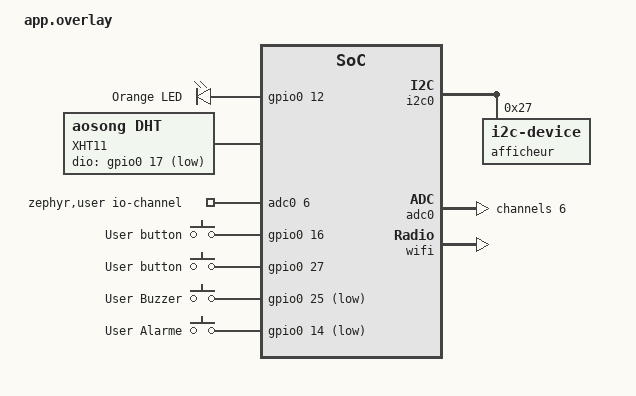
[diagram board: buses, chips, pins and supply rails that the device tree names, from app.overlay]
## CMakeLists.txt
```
cmake_minimum_required(VERSION 3.20.0)

find_package(Zephyr REQUIRED HINTS
$ENV{ZEPHYR_BASE})
project(TomEnzo)

target_sources(app PRIVATE
    src/main.c
    src/lcd_screen_i2c.c
)
```

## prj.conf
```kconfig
# Sensor
CONFIG_I2C=y
CONFIG_SENSOR=y
CONFIG_ADC=y
CONFIG_GPIO=y

CONFIG_CBPRINTF_FP_SUPPORT=y
```

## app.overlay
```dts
/ {
    leds {
        compatible = "gpio-leds";
        ledorange: led_orange {
            gpios = <&gpio0 12 GPIO_ACTIVE_HIGH>;
            label = "Orange LED";
        };
    };

    aliases {
        led-orange = &ledorange;
        afficheur-print = &afficheur;
        sw16 = &button16;
        sw27 = &button27;
        buzz = &buzzer;
        alar = &alarme;
    };

    dht11: dht11 {
        compatible = "aosong,dht";
        status = "okay";
        dio-gpios = <&gpio0 17 GPIO_ACTIVE_LOW>;
        label = "XHT11";
    };

    zephyr,user {
        io-channels = <&adc0 6>;
    };

    buttons {
        compatible = "gpio-keys";
        button16: button_16 {
            gpios = <&gpio0 16 GPIO_ACTIVE_HIGH>;
            label = "User button";
        };

        button27: button_27 {
            gpios = <&gpio0 27 GPIO_ACTIVE_HIGH>;
            label = "User button";
        };

    };

    buzzer {
        compatible = "gpio-keys";
        buzzer: buzzer_25 {
            gpios = <&gpio0 25 GPIO_ACTIVE_LOW>;
            label = "User Buzzer";
        };

    };

    alarme {
        compatible = "gpio-keys";
        alarme: alarme_14 {
            gpios = <&gpio0 14 GPIO_ACTIVE_LOW>;
            label = "User Alarme";
        };
    };
};

&i2c0 {
    afficheur: afficheur_lcd@27 {
        compatible = "i2c-device";
        reg = <0x27>;
    };

};

&adc0 {
    status = "okay";
    #address-cells = <1>;
    #size-cells = <0>;

    channel@6 {
        reg = <6>;
        zephyr,gain = "ADC_GAIN_1_4";
        zephyr,reference = "ADC_REF_INTERNAL";
        zephyr,acquisition-time = <ADC_ACQ_TIME_DEFAULT>;
        zephyr,resolution = <12>;
    };
};

&wifi {
    status = "okay";
};
```

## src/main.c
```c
#include <zephyr/kernel.h>
#include <zephyr/drivers/gpio.h>
#include <stdio.h>
#include <zephyr/drivers/i2c.h>
#include <zephyr/drivers/sensor.h>
#include <zephyr/drivers/adc.h>

#include <zephyr/net/net_if.h>
#include <zephyr/net/wifi_mgmt.h>
#include <zephyr/net/net_event.h>
#include <zephyr/net/http/client.h>
#include <errno.h>
#include <zephyr/net/socket.h>

#include "../inc/lcd_screen_i2c.h"

#define LED_ORANGE_NODE DT_ALIAS(led_orange)
#define AFFICHEUR_NODE DT_ALIAS(afficheur_print)
#define MODE_ALARME "Mode Alarme  "
#define MODE_INTRU "Intru detecte"
#define DT_SPEC_AND_COMMA(node_id, prop, idx) \
	ADC_DT_SPEC_GET_BY_IDX(node_id, idx),

#define BUZZER_PIN DT_ALIAS(buzz)
#define BUZZER_TOGGLE_PERIOD K_MSEC(1)
#define ALARM_NODE DT_ALIAS(alar)

#define SSID "iPhone de Tom"
#define PSK "homedetom"

#define HTTP_PORT "5000"
#define HTTP_HOST "172.20.10.2"

const struct gpio_dt_spec led_orange_gpio = GPIO_DT_SPEC_GET_OR(LED_ORANGE_NODE, gpios, {0});
const struct i2c_dt_spec afficheur = I2C_DT_SPEC_GET(AFFICHEUR_NODE);
const struct device *const dht11 = DEVICE_DT_GET_ONE(aosong_dht);
const struct gpio_dt_spec buzzer_gpio = GPIO_DT_SPEC_GET_OR(BUZZER_PIN, gpios, {0});
const struct gpio_dt_spec presence_sensor_gpio = GPIO_DT_SPEC_GET_OR(ALARM_NODE, gpios, {0});

// Lecture température et humidité
struct sensor_value temp_value;
struct sensor_value humidity_value;

static const struct adc_dt_spec adc_channels[] = {DT_FOREACH_PROP_ELEM(DT_PATH(zephyr_user), io_channels, DT_SPEC_AND_COMMA)};

static struct gpio_callback button_callback_data;
static struct gpio_callback button_callback_data2;

static bool button_pressed_flag = false;
static bool affichage_off = false;

static K_SEM_DEFINE(wifi_connected, 0, 1);
static K_SEM_DEFINE(ipv4_address_obtained, 0, 1);

static struct net_mgmt_event_callback wifi_cb;
static struct net_mgmt_event_callback ipv4_cb;

void button_pressed()
{
	printk("Bouton 16 pressé !\n");
	button_pressed_flag = true;
}

void button_pressed2()
{
	printk("Bouton 27 pressé !\n");
	affichage_off = true;
}

static void handle_wifi_connect_result(struct net_mgmt_event_callback *cb)
{
	const struct wifi_status *status = (const struct wifi_status *)cb->info;
	if (status->status)
	{
		printk("Connection request failed (%d)\n", status->status);
	}
	else
	{
		printk("Connected\n");
		k_sem_give(&wifi_connected);
	}
}

static void handle_wifi_disconnect_result(struct net_mgmt_event_callback *cb)
{
	const struct wifi_status *status = (const struct wifi_status *)cb->info;
	if (status->status)
	{
		printk("Disconnection request (%d)\n", status->status);
	}
	else
	{
		printk("Disconnected\n");
		k_sem_take(&wifi_connected, K_NO_WAIT);
	}
}

static void handle_ipv4_result(struct net_if *iface)
{
	int i = 0;
	for (i = 0; i < NET_IF_MAX_IPV4_ADDR; i++)
	{
		char buf[NET_IPV4_ADDR_LEN];
		if (iface->config.ip.ipv4->unicast[i].addr_type != NET_ADDR_DHCP)
		{
			continue;
		}
		printk("IPv4 address: %s\n",
			   net_addr_ntop(AF_INET,
							 &iface->config.ip.ipv4->unicast[i].address.in_addr,
							 buf, sizeof(buf)));
		printk("Subnet: %s\n", net_addr_ntop(AF_INET,
											 &iface->config.ip.ipv4->netmask,
											 buf, sizeof(buf)));
		printk("Router: %s\n",
			   net_addr_ntop(AF_INET,
							 &iface->config.ip.ipv4->gw,
							 buf, sizeof(buf)));
	}
	k_sem_give(&ipv4_address_obtained);
}

static void wifi_mgmt_event_handler(struct net_mgmt_event_callback *cb, uint32_t mgmt_event, struct net_if *iface)
{
	switch (mgmt_event)
	{
	case NET_EVENT_WIFI_CONNECT_RESULT:
		handle_wifi_connect_result(cb);
		break;
	case NET_EVENT_WIFI_DISCONNECT_RESULT:
		handle_wifi_disconnect_result(cb);
		break;
	case NET_EVENT_IPV4_ADDR_ADD:
		handle_ipv4_result(iface);
		break;
	default:
		break;
	}
}

void wifi_connect(void)
{
	struct net_if *iface = net_if_get_default();
	struct wifi_connect_req_params wifi_params = {0};
	wifi_params.ssid = SSID;
	wifi_params.psk = PSK;
	wifi_params.ssid_length = strlen(SSID);
	wifi_params.psk_length = strlen(PSK);
	wifi_params.channel = WIFI_CHANNEL_ANY;
	wifi_params.security = WIFI_SECURITY_TYPE_PSK;
	wifi_params.band = WIFI_FREQ_BAND_2_4_GHZ;
	wifi_params.mfp = WIFI_MFP_OPTIONAL;
	printk("Connecting to SSID: %s\n", wifi_params.ssid);
	if (net_mgmt(NET_REQUEST_WIFI_CONNECT, iface, &wifi_params, sizeof(struct wifi_connect_req_params)))
	{
		printk("WiFi Connection Request Failed\n");
	}
}

void wifi_status(void)
{
	struct net_if *iface = net_if_get_default();
	struct wifi_iface_status status = {0};
	if (net_mgmt(NET_REQUEST_WIFI_IFACE_STATUS, iface, &status, sizeof(struct wifi_iface_status)))
	{
		printk("WiFi Status Request Failed\n");
	}
	printk("\n");
	if (status.state >= WIFI_STATE_ASSOCIATED)
	{
		printk("SSID: %-32s\n", status.ssid);
		printk("Channel: %d\n", status.channel);
		printk("RSSI: %d\n", status.rssi);
	}
}

static void response_cb(struct http_response *rsp,
                        enum http_final_call final_data,
                        void *user_data)
{
    if (final_data == HTTP_DATA_MORE) {
        printk("Partial data received (%zd bytes)", rsp->data_len);
    } else if (final_data == HTTP_DATA_FINAL) {
        printk("All the data received (%zd bytes)", rsp->data_len);
    }

    printk("Response status %s", rsp->http_status);

        if (rsp->body_found) {
            printk("Response body:\n");
			printk("%s\n", rsp->body_frag_start);
        }
}

int main(void)
{
	gpio_pin_configure_dt(&led_orange_gpio, GPIO_OUTPUT_HIGH);
	k_sleep(K_SECONDS(1));
	gpio_pin_configure_dt(&led_orange_gpio, GPIO_OUTPUT_LOW);
	k_sleep(K_SECONDS(1));
	gpio_pin_configure_dt(&led_orange_gpio, GPIO_OUTPUT_HIGH);
	k_sleep(K_SECONDS(1));
	gpio_pin_configure_dt(&led_orange_gpio, GPIO_OUTPUT_LOW);
	k_sleep(K_SECONDS(1));
	gpio_pin_configure_dt(&led_orange_gpio, GPIO_OUTPUT_HIGH);

	// write_lcd(&afficheur, HELLO_MSG, LCD_LINE_1);

	int err;
	uint16_t buf;
	struct adc_sequence sequence = {
		.buffer = &buf,
		/* buffer size in bytes, not number of samples */
		.buffer_size = sizeof(buf),
	};

	err = adc_channel_setup_dt(&adc_channels[0]);

	// Configurer la broche GPIO du bouton pour les interruptions
	const struct gpio_dt_spec button_gpio = GPIO_DT_SPEC_GET_OR(DT_ALIAS(sw16), gpios, {0});

	gpio_pin_configure(button_gpio.port, button_gpio.pin, GPIO_INPUT | button_gpio.dt_flags);
	gpio_init_callback(&button_callback_data, button_pressed, BIT(button_gpio.pin));
	gpio_add_callback(button_gpio.port, &button_callback_data);
	gpio_pin_interrupt_configure(button_gpio.port, button_gpio.pin, GPIO_INT_EDGE_TO_ACTIVE);

	const struct gpio_dt_spec button_gpio2 = GPIO_DT_SPEC_GET_OR(DT_ALIAS(sw27), gpios, {0});

	gpio_pin_configure(button_gpio2.port, button_gpio2.pin, GPIO_INPUT | button_gpio2.dt_flags);
	gpio_init_callback(&button_callback_data2, button_pressed2, BIT(button_gpio2.pin));
	gpio_add_callback(button_gpio2.port, &button_callback_data2);
	gpio_pin_interrupt_configure(button_gpio2.port, button_gpio2.pin, GPIO_INT_EDGE_TO_ACTIVE);

	net_mgmt_init_event_callback(
		&wifi_cb,
		wifi_mgmt_event_handler,
		NET_EVENT_WIFI_CONNECT_RESULT | NET_EVENT_WIFI_DISCONNECT_RESULT);

	net_mgmt_init_event_callback(
		&ipv4_cb,
		wifi_mgmt_event_handler,
		NET_EVENT_IPV4_ADDR_ADD);

	net_mgmt_add_event_callback(&wifi_cb);
	net_mgmt_add_event_callback(&ipv4_cb);

	wifi_connect();

	k_sem_take(&wifi_connected, K_FOREVER);
	wifi_status();
	k_sem_take(&ipv4_address_obtained, K_FOREVER);

	static struct addrinfo hints;
	struct addrinfo *res;
	int st, sock, ret;
	hints.ai_family = AF_INET;
	hints.ai_socktype = SOCK_STREAM;
	st = getaddrinfo(HTTP_HOST, HTTP_PORT, &hints, &res);
	printf("getaddrinfo status: %d\n", st);

	if (st != 0)
	{
		printf("Unable to resolve address, quitting\n");
		return 0;
	}

	struct http_request req = { 0 };
	static uint8_t recv_buf[512];

	sock = socket(res->ai_family, res->ai_socktype, res->ai_protocol);
	zsock_connect(sock, res->ai_addr, res->ai_addrlen);
	req.method = HTTP_POST;
	req.url = "/";
	req.host = HTTP_HOST;
	req.protocol = "HTTP/1.1";
	req.response = response_cb;
	req.recv_buf = recv_buf;
	req.recv_buf_len = sizeof(recv_buf);
	ret = http_client_req(sock, &req, 5000, NULL);
	zsock_close(sock);

	while (1)
	{
		int ret = sensor_sample_fetch(dht11);
		ret = sensor_channel_get(dht11, SENSOR_CHAN_AMBIENT_TEMP, &temp_value);
		ret = sensor_channel_get(dht11, SENSOR_CHAN_HUMIDITY, &humidity_value);

		double temperature = sensor_value_to_double(&temp_value);
		double humidity = sensor_value_to_double(&humidity_value);

		printf("Température : %f °C\n", temperature);
		printf("Humidité : %f %%\n", humidity);

		(void)adc_sequence_init_dt(&adc_channels[0], &sequence);

		// Lecture analogique humidité
		int16_t adc_value;
		int err = adc_read_dt(&adc_channels[0], &sequence);

		if (err == 0)
		{
			uint32_t val_mv;
			val_mv = (int32_t)buf;

			err = adc_raw_to_millivolts_dt(&adc_channels[0], &val_mv);

			if (err == 0)
			{
				double voltage = val_mv / 1000.0; // Convertir en volts
				printf("Tension analogique (humidité) : %f V\n", voltage);
			}
			else
			{
				printf("Erreur lors de la conversion de tension (humidité)\n");
			}
		}
		else
		{
			printf("Erreur lors de la lecture analogique (humidité)\n");
		}

		k_sleep(K_SECONDS(10));
	}
}

void alarm_button_thread()
{
	int count = 0;
	gpio_pin_configure_dt(&buzzer_gpio, GPIO_OUTPUT_LOW);

	init_lcd(&afficheur);

	while (1)
	{
		gpio_pin_configure_dt(&presence_sensor_gpio, GPIO_INPUT);

		// Lire la valeur du capteur de présence
		int presence = gpio_pin_get(presence_sensor_gpio.port, presence_sensor_gpio.pin);

		if (button_pressed_flag)
		{

			if (presence)
			{
				printk("Présence détectée\n");
				k_sleep(BUZZER_TOGGLE_PERIOD);
				// gpio_pin_configure_dt(&buzzer_gpio, GPIO_OUTPUT_LOW);
				gpio_pin_set_dt(&buzzer_gpio, 0);
				k_sleep(BUZZER_TOGGLE_PERIOD);
				// gpio_pin_configure_dt(&buzzer_gpio, GPIO_OUTPUT_HIGH);
				gpio_pin_set_dt(&buzzer_gpio, 1);
				// k_sleep(BUZZER_TOGGLE_PERIOD);

				count++;

				if (count == 5)
				{
					write_lcd(&afficheur, MODE_INTRU, LCD_LINE_1);
				}
			}
			else
			{
				printk("Pas de présence\n");
				write_lcd(&afficheur, MODE_ALARME, LCD_LINE_1);
				count = 0;
			}
		}

		if (affichage_off)
		{
			write_lcd(&afficheur, HELLO_MSG, LCD_LINE_1);
			button_pressed_flag = false;
			affichage_off = false;
		}

		k_sleep(BUZZER_TOGGLE_PERIOD);
	}
}

K_THREAD_DEFINE(alarm_button_id, 521, alarm_button_thread, NULL, NULL, NULL, 9, 0, 0);
```

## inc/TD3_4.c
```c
#include <stdio.h>
#include <stdlib.h>
#include <math.h>

void afficher (int T[3][3]);
void saisir(int T[3][3], int num_joueur);

int tester_ligne(int T[3][3], int ligne);
int tester_colonne(int T[3][3], int col);

int tester_diagonale1(int T[3][3]);
int tester_diagonale2(int T[3][3]);
int tester_grille(int T[3][3]);

int main()
{
	int tab[3][3] = {{0,0,0},{0,0,0},{0,0,0}};
	afficher(tab);
	saisir(tab,2);
	afficher(tab);
	
}

void afficher(int T[3][3])
{
	int i,j;
	for (i =0; i< 3;i++)
	{
		for (j = 0; j<3; j++)
			printf("%3d",T[i][j]);
			
		printf("\n");
	}
}

void saisir(int T[3][3], int num_joueur)
{
	int flag = 0;
	int l,col;
	while (flag != 1)
	{
		printf("Choisisser une ligne : \n");
		scanf("%d",&l);
		printf("Choisisser une colone : \n");
		scanf("%d",&col);
		if (T[l][col] == 0)
		{
			T[l][col] = num_joueur;
			flag = 1;
		}
	}
}

int tester_ligne(int T[3][3], int ligne)
{
	if (T[ligne][0] == T[ligne][1] &&  T[ligne][2] == T[ligne][1])
		return T[ligne][0];
	else
		return 0;
}

int tester_colonne(int T[3][3], int col)
{
	if (T[0][col] == T[1][col] &&  T[2][col] == T[1][col])
		return T[0][col];
	else
		return 0;
}

int tester_diagonale1(int T[3][3])
{
	if(T[0][0] == T[1][1] && T[2][2] == T[1][1])
		return T[0][0];
	else
		return 0;
}

int tester_diagonale2(int T[3][3])
{
	if(T[0][2] == T[1][1] && T[2][0] == T[1][1])
		return T[0][2];
	else
		return 0;
}

int tester_grille(int T[3][3])
{
	int l,c,d1,d2;
	for (int i = 0;i<3; i++)
	{
		l = tester_ligne(T,i);
		c = tester_colonne(T,i);
	}
	d1 = tester_diagonale1(T);
	d2 = tester_diagonale1(T);
	if (l != 0 || c != 0 || d1 != 0 || d2 != 0)
		return;
}
```

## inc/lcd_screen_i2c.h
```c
/**
 * Author: Vivien Debuchy
 * Simple library for LCD-1602 I2C
 * Based on https://github.com/sterlingbeason/LCD-1602-I2C
 */

#ifndef INC_LDC_SCREEN_I2C_H_
#define INC_LDC_SCREEN_I2C_H_

#include <zephyr/types.h>

struct i2c_dt_spec;

#define LCD_BACKLIGHT 0x08
#define LCD_CMD 0x00
#define LCD_CHR 0x01
#define LCD_ENABLE 0b00000100
#define LCD_LINE_1 0x80 // Select line 1
#define LCD_LINE_2 0xc0 // Select line 2
#define LCD_WIDTH 16    // Max number of carac per lines

#define HELLO_MSG "Bienvenue    "
#define ZEPHYR_MSG "Chez TOM et ENZO"

#define START_ALERT_MONITORING_MSG_1 "Alarm"
#define START_ALERT_MONITORING_MSG_2 "Protection"

#define INTRUDER_MSG_1 "INTRUDER"
#define INTRUDER_MSG_2 "LEAVE !"

void init_lcd(const struct i2c_dt_spec *dev_lcd_screen);
void write_lcd(const struct i2c_dt_spec *dev_lcd_screen, const char *msg, uint8_t line);
void write_lcd_clear(const struct i2c_dt_spec *dev_lcd_screen, const char *msg, uint8_t line);

#endif // INC_LDC_SCREEN_I2C_H_
```

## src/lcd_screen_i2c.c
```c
#include "../inc/lcd_screen_i2c.h"

#include <zephyr/kernel.h>
#include <zephyr/drivers/i2c.h>

static void lcd_toggle_enable(const struct i2c_dt_spec *dev_lcd_screen, uint8_t bits);

static void lcd_byte(const struct i2c_dt_spec *dev_lcd_screen, uint8_t bits, uint8_t mode);

void init_lcd(const struct i2c_dt_spec *dev_lcd_screen)
{
    lcd_byte(dev_lcd_screen, 0x33, LCD_CMD);
    lcd_byte(dev_lcd_screen, 0x32, LCD_CMD);
    lcd_byte(dev_lcd_screen, 0x06, LCD_CMD);
    lcd_byte(dev_lcd_screen, 0x0c, LCD_CMD);
    lcd_byte(dev_lcd_screen, 0x28, LCD_CMD);
    lcd_byte(dev_lcd_screen, 0x01, LCD_CMD);
    write_lcd(dev_lcd_screen, HELLO_MSG, LCD_LINE_1);
    write_lcd(dev_lcd_screen, ZEPHYR_MSG, LCD_LINE_2);
}

static void lcd_byte(const struct i2c_dt_spec *dev_lcd_screen, uint8_t bits, uint8_t mode)
{
    int ret = 0;
    uint8_t bits_high = mode | (bits & 0xf0) | LCD_BACKLIGHT;
    uint8_t bits_low = mode | ((bits << 4) & 0xf0) | LCD_BACKLIGHT;


    ret = i2c_write_dt(dev_lcd_screen, &bits_high, sizeof(bits_high));
    
    if (ret != 0)
    {
        printk("ERROR while writing to I2C");
    }

    lcd_toggle_enable(dev_lcd_screen, bits_high);

    ret = i2c_write_dt(dev_lcd_screen, &bits_low, sizeof(bits_low));

    if (ret != 0)
    {
        printk("ERROR while writing to I2C");
    }

    lcd_toggle_enable(dev_lcd_screen, bits_low);
}

void write_lcd(const struct i2c_dt_spec *dev_lcd_screen, const char *msg, uint8_t line)
{
    lcd_byte(dev_lcd_screen, line, LCD_CMD);

    // Todo: fill the array with space at the end to complete the line

    if (strlen(msg) > LCD_WIDTH)
    {
        return;
    }

    for (uint8_t i = 0; i < strlen(msg); i++)
    {
        lcd_byte(dev_lcd_screen, msg[i], LCD_CHR);
    }
}

static void lcd_toggle_enable(const struct i2c_dt_spec *dev_lcd_screen, uint8_t bits)
{
    int ret = 0;
    k_sleep(K_MSEC(5));
    uint8_t bits1 = bits | LCD_ENABLE;
    ret = i2c_write_dt(dev_lcd_screen, &bits1, sizeof(bits1));

    if (ret != 0)
    {
        printk("ERROR while writing to I2C");
    }

    k_sleep(K_MSEC(5));
    uint8_t bits2 = bits & ~LCD_ENABLE;
    ret = i2c_write_dt(dev_lcd_screen, &bits2, sizeof(bits2));

    if (ret != 0)
    {
        printk("ERROR while writing to I2C");
    }

    k_sleep(K_MSEC(5));
}
```
